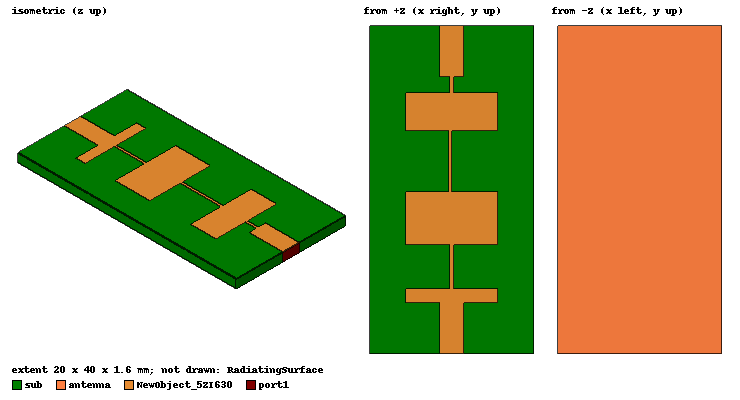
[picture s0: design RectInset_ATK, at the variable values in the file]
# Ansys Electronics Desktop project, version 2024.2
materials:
  vacuum: permittivity=1
  Duroid (tm): permittivity=2.2 dielectric_loss_tangent=0.0009
  FR4_epoxy: permittivity=4.4 dielectric_loss_tangent=0.02

design RectInset_ATK (HFSS, HFSS Hybrid Terminal Network, model units mm)
options: Allow_Material_Override Save_Adaptive_support_files
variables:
  # --Antenna Dimensions
  patchX = 1.19cm
  patchY = 0.91cm
  # --Substrate Dimensions
  subH = 0.1575cm
  subX = 2.7cm
  subY = 2.87cm
  # --Feed Dimensions
  InsetDistance = 0.276cm
  InsetGap = 0.247cm
  FeedWidth = 0.493cm
  FeedLength = 0.914cm
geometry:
  sub [FR4_epoxy] = box(corner=(-10mm, 0mm, 0mm), size=(20mm, 40mm, 1.6mm))
  antenna = rectangle(corner=(-10mm, 0mm, 0mm), x_size=20mm, y_size=40mm)
  NewObject_5ZI630 = rectangle(corner=(-1.5mm, 0mm, 1.6mm), x_size=3mm, y_size=6.18mm)
  NewObject_AGQKYN = rectangle(corner=(-5.55mm, 6.18mm, 1.6mm), x_size=11.1mm, y_size=1.7mm)
  port1 = rectangle(corner=(-1.5mm, 40mm, 1.6mm), z_size=-1.6mm, x_size=3mm)
  RadiatingSurface [vacuum] = region(absolute_offset=1mm on all sides)
  Rectangle1 = rectangle(corner=(-0.204mm, 7.88mm, 1.6mm), x_size=0.408mm, y_size=5.46mm)
  Rectangle2 = rectangle(corner=(-5.55mm, 13.34mm, 1.6mm), x_size=11.1mm, y_size=6.36mm)
  Rectangle3 = rectangle(corner=(-0.408mm, 19.7mm, 1.6mm), x_size=0.408mm, y_size=7.46mm)
  Rectangle4 = rectangle(corner=(-5.55mm, 27.16mm, 1.6mm), x_size=11.1mm, y_size=4.66mm)
  Rectangle5 = rectangle(corner=(-0.204mm, 31.82mm, 1.6mm), x_size=0.408mm, y_size=2mm)
  Rectangle6 = rectangle(corner=(-1.5mm, 33.82mm, 1.6mm), x_size=3mm, y_size=6.18mm)
  Rectangle7 = rectangle(corner=(-1.5mm, 0mm, 1.6mm), z_size=-1.6mm, x_size=3mm)
  NewObject_5ZI630.unite(NewObject_AGQKYN, Rectangle1..Rectangle6)
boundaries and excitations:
  antennaMetal: Perfect E Objects=antenna
  Open1: Radiation Objects=RadiatingSurface
  PerfE1: Perfect E Objects=NewObject_5ZI630
  port1_T1: Terminal port=1 Edges=port1.edge(at (0, 40, 1.6)) TerminalResistance=50ohm
  1: Lumped Port Faces=port1.face LumpedPortType=Terminal Impedance=50ohm
  2: Lumped Port Objects=Rectangle7 LumpedPortType=Modal Modes{Mode1{IntLine{(0, 0, 0) -> (0, 0, 1.6)} CharImp=Zpi}} Impedance=50ohm
  reference conductors: antenna
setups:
  ATK_Solution: HfssDriven Frequency=3GHz MaxDeltaS=0.02 MaximumPasses=6 MinimumPasses=1 MinimumConvergedPasses=1 PercentRefinement=30 BasisOrder=1 PortAccuracy=2 DrivenSolverType="Direct Solver" IESolverType=ACA
    sweep Sweep: 1GHz to 10GHz step 0.1GHz; Type=Interpolating InterpTolerance=0.5 InterpMaxSolns=250 PassivityErrorTolerance=0.0001
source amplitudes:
  1:1: 1V 0deg
  2:1: 0V 0deg
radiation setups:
  3D: Infinite Sphere Theta=0deg..180deg step 2deg Phi=-180deg..180deg step 2deg
  Elevation: Infinite Sphere Theta=-180deg..180deg step 1deg Phi=0deg..90deg step 90deg
  Azimuth: Infinite Sphere Theta=90deg..90deg step 0deg Phi=-180deg..180deg step 1deg
  ATK_2D: Infinite Sphere Theta=-180deg..180deg step 1deg Phi=0deg..90deg step 90deg
  ATK_3D: Infinite Sphere Theta=-180deg..180deg step 2deg Phi=0deg..180deg step 5deg
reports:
  ff_2D_GainTotal:
  Terminal S Parameter Plot 1: dB(St(port1_T1,2)) vs Freq on ATK_Solution : Sweep; markers m1 at 3GHz, m2 at 2GHz
